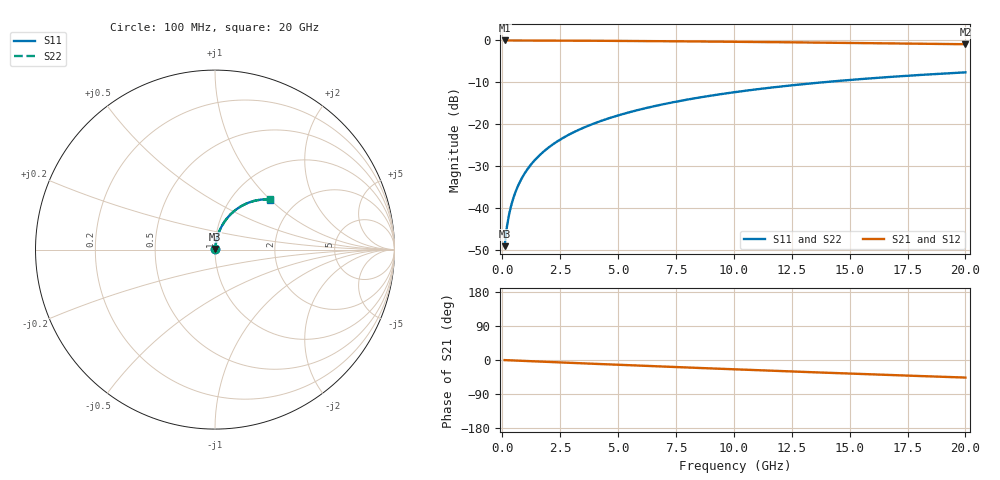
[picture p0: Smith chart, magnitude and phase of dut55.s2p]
! Touchstone file exported from HFSS 2026.1.0
!  File:  C:/ffzhzh/LocalFiles/Ansys_Project_Files/temp_train_TMRDL_55_1782880912_13352.aedt
!  Generated:  12:43:16 PM Jul  1, 2026
!  Design:  TMRDL
!  Project:  temp_train_TMRDL_55_1782880912_13352
! Variables:
!  h_bsmrdl = 2um
!  h_ox = 20um
!  h_rdl = 5um
!  h_sub = 80um
!  h_tmrdl = 5.72um
!  h_tsv = 80um
!  h_via = 3um
!  l_bsmrdl = 300um
!  l_sub = 1092.1um
!  l_tmrdl = 692.1um
!  m_sub = 200um
!  pitch = 54.57um
!  r_tsv = 6um
!  s_tmrdl = 10um
!  w_bsmrdl = 18um
!  w_sub = 500um
!  w_tmrdl = 22.87um
!  x_tsv_center1 = 703.535um
!  x_tsv_center2 = 1021.535um
!  x_tsv_center3 = 1736.505um
!  x_tsv_center4 = 2054.505um
!  x_tsv_center5 = 2769.475um
!  x_tsv_center6 = 3087.475um
# GHz S MA R 50.000000
! Terminal data exported
! Port[1] = TM_RDL1_1_T1
! Port[2] = TM_RDL1_1_T2
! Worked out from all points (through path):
!   200 points, 100 MHz to 20 GHz, reference 50 ohm
!   highest |S21| = -0.02 dB at 100 MHz (marker M1); lowest = -0.9 dB at 20 GHz (marker M2)
!   group delay of S21, straight-line fit = 6.44 ps
!   lowest |S11| = -49.1 dB at 100 MHz (marker M3), VSWR 1.01, Z = 50.2 + j0.283 ohm
!   |S11| at or under -10 dB: start of sweep to 13.86 GHz
!   |S22| runs from -49.1 to -7.6 dB; largest |S21 - S12| = 5.5e-14
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0.1  0.003487 54.0  0.998 -0.3  0.998 -0.3  0.003487 54.0
! Gamma 0 0 0 0
! Port Impedance 50 0 50 0
0.2  0.005965 68.0  0.9978 -0.5  0.9978 -0.5  0.005965 68.0
0.3  0.008517 73.6  0.9977 -0.8  0.9977 -0.8  0.008517 73.6
0.4  0.01108 76.5  0.9976 -1.0  0.9976 -1.0  0.01108 76.5
0.5  0.01366 78.4  0.9975 -1.3  0.9975 -1.3  0.01366 78.4
0.7  0.01885 80.4  0.9973 -1.8  0.9973 -1.8  0.01885 80.4
0.8  0.02145 80.9  0.9972 -2.1  0.9972 -2.1  0.02145 80.9
1  0.02666 81.6  0.997 -2.6  0.997 -2.6  0.02666 81.6
1.2  0.03187 81.8  0.9967 -3.1  0.9967 -3.1  0.03187 81.8
1.4  0.03707 81.8  0.9964 -3.6  0.9964 -3.6  0.03707 81.8
1.7  0.04484 81.6  0.9958 -4.4  0.9958 -4.4  0.04484 81.6
2  0.05256 81.1  0.9952 -5.1  0.9952 -5.1  0.05256 81.1
2.7  0.07039 79.8  0.9935 -6.9  0.9935 -6.9  0.07039 79.8
3.5  0.09041 78.1  0.9912 -8.9  0.9912 -8.9  0.09041 78.1
4.2  0.1076 76.6  0.9889 -10.6  0.9889 -10.6  0.1076 76.6
5  0.127 74.8  0.9861 -12.6  0.9861 -12.6  0.127 74.8
6.8  0.1693 70.7  0.9787 -16.9  0.9787 -16.9  0.1693 70.7
8.3  0.2032 67.3  0.9716 -20.5  0.9716 -20.5  0.2032 67.3
10.1  0.2421 63.3  0.9621 -24.8  0.9621 -24.8  0.2421 63.3
13.4  0.3077 56.0  0.9424 -32.3  0.9424 -32.3  0.3077 56.0
16.7  0.3653 49.0  0.9212 -39.5  0.9212 -39.5  0.3653 49.0
20  0.4148 42.3  0.8999 -46.4  0.8999 -46.4  0.4148 42.3
